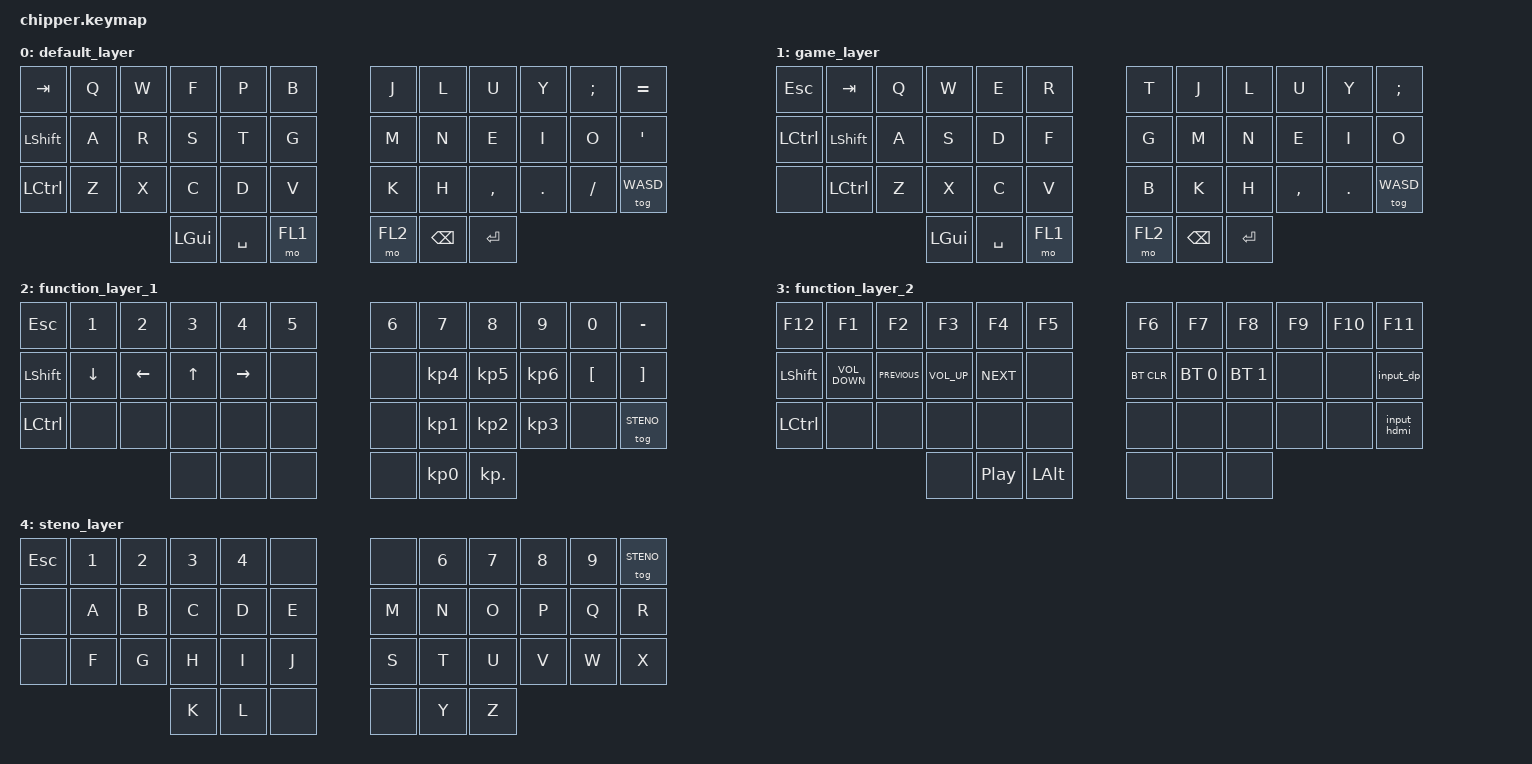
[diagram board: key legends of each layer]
/*
 * Copyright (c) 2020 The ZMK Contributors
 *
 * SPDX-License-Identifier: MIT
 */

#include <behaviors.dtsi>
#include <dt-bindings/zmk/keys.h>
#include <dt-bindings/zmk/bt.h>

#define DEFAULT 0
#define WASD 1
#define FL1 2
#define FL2 3
#define STENO 4

/ {

        macros {
                input_dp: input_dp {
                        label = "ZM_input_dp";
                        compatible = "zmk,behavior-macro";
                        #binding-cells = <0>;
                        wait-ms = <0>;
                        bindings
                                = <&macro_press &kp LSHFT &kp LCTRL>
                                , <&macro_tap &kp BSPC>
                                , <&macro_release &kp LSHFT &kp LCTRL>;
                };

                input_hdmi: input_hdmi {
                        label = "ZM_input_hdmi";
                        compatible = "zmk,behavior-macro";
                        #binding-cells = <0>;
                        wait-ms = <0>;
                        bindings
                                = <&macro_press &kp LSHFT &kp LCTRL>
                                , <&macro_tap &kp DEL>
                                , <&macro_release &kp LSHFT &kp LCTRL>;
                };
        };

        keymap {
                compatible = "zmk,keymap";

                default_layer {
                        bindings = <
   &kp TAB     &kp Q   &kp W   &kp F      &kp P       &kp B                  &kp J     &kp L      &kp U       &kp Y     &kp SEMI   &kp EQUAL
   &kp LSHFT   &kp A   &kp R   &kp S      &kp T       &kp G                  &kp M     &kp N      &kp E       &kp I     &kp O      &kp SQT
   &kp LCTRL   &kp Z   &kp X   &kp C      &kp D       &kp V                  &kp K     &kp H      &kp COMMA   &kp DOT   &kp FSLH   &tog WASD
                               &kp LGUI   &kp SPACE   &mo FL1                &mo FL2   &kp BSPC   &kp RET
                        >;
                };
                
                game_layer {
                        bindings = <
   &kp ESC     &kp TAB     &kp Q   &kp W      &kp E       &kp R                  &kp T     &kp J      &kp L   &kp U       &kp Y     &kp SEMI
   &kp LCTRL   &kp LSHFT   &kp A   &kp S      &kp D       &kp F                  &kp G     &kp M      &kp N   &kp E       &kp I     &kp O
   &none       &kp LCTRL   &kp Z   &kp X      &kp C       &kp V                  &kp B     &kp K      &kp H   &kp COMMA   &kp DOT   &tog WASD
                                   &kp LGUI   &kp SPACE   &mo FL1                &mo FL2   &kp BSPC   &kp RET
                        >;
                };

                function_layer_1 {
                        bindings = <
   &kp ESC     &kp N1     &kp N2     &kp N3   &kp N4      &kp N5                &kp N6   &kp N7      &kp N8      &kp N9      &kp N0     &kp MINUS
   &kp LSHFT   &kp DOWN   &kp LEFT   &kp UP   &kp RIGHT   &none                 &none    &kp KP_N4   &kp KP_N5   &kp KP_N6   &kp LBKT   &kp RBKT
   &kp LCTRL   &none      &none      &none    &none       &none                 &none    &kp KP_N1   &kp KP_N2   &kp KP_N3   &none      &tog STENO
                                     &none    &none       &none                 &none    &kp KP_N0   &kp KP_DOT
                        >;
                };

                function_layer_2 {
                        bindings = <
   &kp F12     &kp F1              &kp F2           &kp F3            &kp F4             &kp F5                  &kp F6       &kp F7         &kp F8         &kp F9   &kp F10   &kp F11
   &kp LSHFT   &kp C_VOLUME_DOWN   &kp C_PREVIOUS   &kp C_VOLUME_UP   &kp C_NEXT         &none                   &bt BT_CLR   &bt BT_SEL 0   &bt BT_SEL 1   &none    &none     &input_dp
   &kp LCTRL   &none               &none            &none             &none              &none                   &none        &none          &none          &none    &none     &input_hdmi
                    	                            &none             &kp C_PLAY_PAUSE   &kp LALT                &none        &none          &none
                        >;    
                };

                steno_layer {
                        bindings = <
   &kp ESC    &kp N1  &kp N2  &kp N3  &kp N4  &none                &none   &kp N6  &kp N7  &kp N8  &kp N9  &tog STENO
   &none      &kp A   &kp B   &kp C   &kp D   &kp E                &kp M   &kp N   &kp O   &kp P   &kp Q   &kp R
   &none      &kp F   &kp G   &kp H   &kp I   &kp J                &kp S   &kp T   &kp U   &kp V   &kp W   &kp X
                    	      &kp K   &kp L   &none                &none   &kp Y   &kp Z
                        >;    
                };

        };
};
